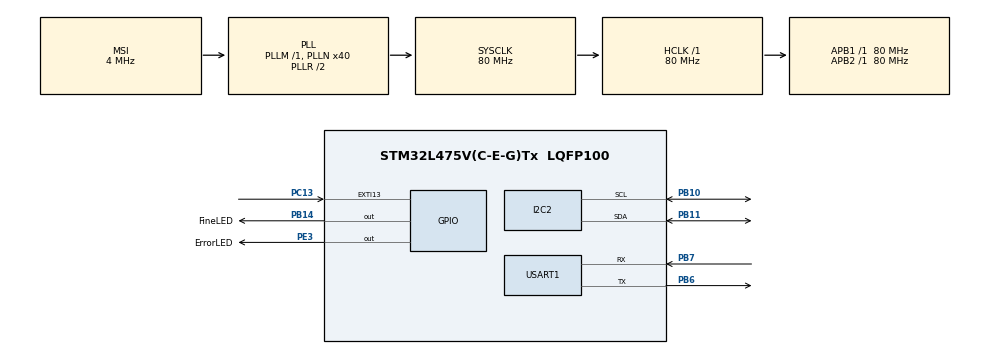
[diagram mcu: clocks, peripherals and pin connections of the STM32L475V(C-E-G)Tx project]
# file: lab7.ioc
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Mcu.Family=STM32L4
RCC.MSI_VALUE=4000000
VP_SYS_VS_tim6.Mode=TIM6
RCC.CortexFreq_Value=80000000
FREERTOS.Tasks01=defaultTask,0,128,StartDefaultTask,Default,NULL,Dynamic,NULL,NULL;buttonThread,-3,128,StartTask02,Default,NULL,Dynamic,NULL,NULL;UARTThread,-3,128,StartTask03,Default,NULL,Dynamic,NULL,NULL;sensorThread,-3,128,StartTask04,Default,NULL,Dynamic,NULL,NULL
PB10.Mode=I2C
NVIC.TIM6_DAC_IRQn=true\:0\:0\:false\:false\:true\:false\:false\:true
PC13.Signal=GPXTI13
PB14.GPIO_Label=FineLED
I2C2.Timing=0x10909CEC
PB11.Signal=I2C2_SDA
RCC.SYSCLKSource=RCC_SYSCLKSOURCE_PLLCLK
ProjectManager.StackSize=0x400
USART1.VirtualMode-Asynchronous=VM_ASYNC
PB11.Mode=I2C
ProjectManager.TargetToolchain=STM32CubeIDE
RCC.HCLKFreq_Value=80000000
RCC.APB2TimFreq_Value=80000000
PB6.Signal=USART1_TX
PB6.Mode=Asynchronous
RCC.USBFreq_Value=48000000
RCC.LSE_VALUE=32768
RCC.AHBFreq_Value=80000000
PB10.Signal=I2C2_SCL
NVIC.EXTI15_10_IRQn=true\:0\:0\:false\:false\:true\:false\:true\:true
PB14.Signal=GPIO_Output
RCC.HSE_VALUE=8000000
board=B-L475E-IOT01A1
RCC.VCOOutputFreq_Value=160000000
RCC.APB2Freq_Value=80000000
RCC.ADCFreq_Value=48000000
PB7.Signal=USART1_RX
VP_FREERTOS_VS_CMSIS_V1.Mode=CMSIS_V1
Mcu.Name=STM32L475V(C-E-G)Tx
RCC.SYSCLKFreq_VALUE=80000000
Mcu.Package=LQFP100
NVIC.TimeBase=TIM6_DAC_IRQn
PC13.GPIO_ModeDefaultEXTI=GPIO_MODE_IT_FALLING
PB7.Mode=Asynchronous
NVIC.TimeBaseIP=TIM6
ProjectManager.HeapSize=0x200
RCC.HSI_VALUE=16000000
NVIC.PriorityGroup=NVIC_PRIORITYGROUP_4
RCC.PLLN=40
RCC.APB1TimFreq_Value=80000000
PE3.Signal=GPIO_Output
PE3.GPIO_Label=ErrorLED
RCC.APB1Freq_Value=80000000
RCC.PLLSAI1N=24

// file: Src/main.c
/* USER CODE BEGIN Header */
/**
  ******************************************************************************
  * @file           : main.c
  * @brief          : Main program body
  ******************************************************************************
  * @attention
  *
  * <h2><center>&copy; Copyright (c) 2020 STMicroelectronics.
  * All rights reserved.</center></h2>
  *
  * This software component is licensed by ST under BSD 3-Clause license,
  * the "License"; You may not use this file except in compliance with the
  * License. You may obtain a copy of the License at:
  *                        opensource.org/licenses/BSD-3-Clause
  *
  ******************************************************************************
  */
/* USER CODE END Header */
#include "main.h"
#include "cmsis_os.h"

/* USER CODE BEGIN Includes */
#include "string.h"
#include "stdio.h"
#include "stm32l475e_iot01.h"
#include "stm32l475e_iot01_accelero.h"
#include "stm32l475e_iot01_magneto.h"
#include "stm32l475e_iot01_psensor.h"
#include "stm32l475e_iot01_tsensor.h"
/* USER CODE END Includes */

I2C_HandleTypeDef hi2c2;

UART_HandleTypeDef huart1;

osThreadId defaultTaskHandle;
osThreadId buttonThreadHandle;
osThreadId UARTThreadHandle;
osThreadId sensorThreadHandle;
/* USER CODE BEGIN PV */

int16_t accelero_XYZ[3];
int16_t magneto_XYZ[3];
float pressure;
float temperature;
char accelero_XYZ_buffer[50];
char magneto_XYZ_buffer[50];
char pressure_buffer[50];
char temperature_buffer[50];

enum sensor{MAGNETOMETER, PRESSURE, TEMPERATURE, ACCELOROMETER} sensorType;
/* USER CODE END PV */

void SystemClock_Config(void);
static void MX_GPIO_Init(void);
static void MX_I2C2_Init(void);
static void MX_USART1_UART_Init(void);
void StartDefaultTask(void const * argument);
void StartTask02(void const * argument);
void StartTask03(void const * argument);
void StartTask04(void const * argument);

int main(void)
{

  /* MCU Configuration--------------------------------------------------------*/

  /* Reset of all peripherals, Initializes the Flash interface and the Systick. */
  HAL_Init();

  /* Configure the system clock */
  SystemClock_Config();

  /* Initialize all configured peripherals */
  MX_GPIO_Init();
  MX_I2C2_Init();
  MX_USART1_UART_Init();
  /* USER CODE BEGIN 2 */

  /* Initialize I2C sensors */
  BSP_ACCELERO_Init();
  BSP_MAGNETO_Init();
  BSP_PSENSOR_Init();
  BSP_TSENSOR_Init();

  /* Set low power mode for accelerometer and magnetometer */
  BSP_ACCELERO_LowPower(1);
  BSP_MAGNETO_LowPower(1);

  /* USER CODE END 2 */

  /* Create the thread(s) */
  /* definition and creation of defaultTask */
  osThreadDef(defaultTask, StartDefaultTask, osPriorityNormal, 0, 128);
  defaultTaskHandle = osThreadCreate(osThread(defaultTask), NULL);

  /* definition and creation of buttonThread */
  osThreadDef(buttonThread, StartTask02, osPriorityIdle, 0, 128);
  buttonThreadHandle = osThreadCreate(osThread(buttonThread), NULL);

  /* definition and creation of UARTThread */
  osThreadDef(UARTThread, StartTask03, osPriorityIdle, 0, 128);
  UARTThreadHandle = osThreadCreate(osThread(UARTThread), NULL);

  /* definition and creation of sensorThread */
  osThreadDef(sensorThread, StartTask04, osPriorityIdle, 0, 128);
  sensorThreadHandle = osThreadCreate(osThread(sensorThread), NULL);

  /* Start scheduler */
  osKernelStart();

  /* We should never get here as control is now taken by the scheduler */
  /* Infinite loop */
  while (1)
  {

    /* USER CODE BEGIN 3 */

	  //Reading data

//	  BSP_ACCELERO_AccGetXYZ(accelero_XYZ);
//	  BSP_MAGNETO_GetXYZ(magneto_XYZ);
//	  pressure = BSP_PSENSOR_ReadPressure();
//	  temperature = BSP_TSENSOR_ReadTemp();
//	 //10 Hz
//	  HAL_Delay(100);
  }
  /* USER CODE END 3 */
}

void SystemClock_Config(void)
{
  RCC_OscInitTypeDef RCC_OscInitStruct = {0};
  RCC_ClkInitTypeDef RCC_ClkInitStruct = {0};
  RCC_PeriphCLKInitTypeDef PeriphClkInit = {0};

  /** Initializes the RCC Oscillators according to the specified parameters
  * in the RCC_OscInitTypeDef structure.
  */
  RCC_OscInitStruct.OscillatorType = RCC_OSCILLATORTYPE_MSI;
  RCC_OscInitStruct.MSIState = RCC_MSI_ON;
  RCC_OscInitStruct.MSICalibrationValue = 0;
  RCC_OscInitStruct.MSIClockRange = RCC_MSIRANGE_6;
  RCC_OscInitStruct.PLL.PLLState = RCC_PLL_ON;
  RCC_OscInitStruct.PLL.PLLSource = RCC_PLLSOURCE_MSI;
  RCC_OscInitStruct.PLL.PLLM = 1;
  RCC_OscInitStruct.PLL.PLLN = 40;
  RCC_OscInitStruct.PLL.PLLP = RCC_PLLP_DIV7;
  RCC_OscInitStruct.PLL.PLLQ = RCC_PLLQ_DIV2;
  RCC_OscInitStruct.PLL.PLLR = RCC_PLLR_DIV2;
  if (HAL_RCC_OscConfig(&RCC_OscInitStruct) != HAL_OK)
  {
    Error_Handler();
  }
  /** Initializes the CPU, AHB and APB buses clocks
  */
  RCC_ClkInitStruct.ClockType = RCC_CLOCKTYPE_HCLK|RCC_CLOCKTYPE_SYSCLK
                              |RCC_CLOCKTYPE_PCLK1|RCC_CLOCKTYPE_PCLK2;
  RCC_ClkInitStruct.SYSCLKSource = RCC_SYSCLKSOURCE_PLLCLK;
  RCC_ClkInitStruct.AHBCLKDivider = RCC_SYSCLK_DIV1;
  RCC_ClkInitStruct.APB1CLKDivider = RCC_HCLK_DIV1;
  RCC_ClkInitStruct.APB2CLKDivider = RCC_HCLK_DIV1;

  if (HAL_RCC_ClockConfig(&RCC_ClkInitStruct, FLASH_LATENCY_4) != HAL_OK)
  {
    Error_Handler();
  }
  PeriphClkInit.PeriphClockSelection = RCC_PERIPHCLK_USART1|RCC_PERIPHCLK_I2C2;
  PeriphClkInit.Usart1ClockSelection = RCC_USART1CLKSOURCE_PCLK2;
  PeriphClkInit.I2c2ClockSelection = RCC_I2C2CLKSOURCE_PCLK1;
  if (HAL_RCCEx_PeriphCLKConfig(&PeriphClkInit) != HAL_OK)
  {
    Error_Handler();
  }
  /** Configure the main internal regulator output voltage
  */
  if (HAL_PWREx_ControlVoltageScaling(PWR_REGULATOR_VOLTAGE_SCALE1) != HAL_OK)
  {
    Error_Handler();
  }
}

static void MX_I2C2_Init(void)
{

  hi2c2.Instance = I2C2;
  hi2c2.Init.Timing = 0x10909CEC;
  hi2c2.Init.OwnAddress1 = 0;
  hi2c2.Init.AddressingMode = I2C_ADDRESSINGMODE_7BIT;
  hi2c2.Init.DualAddressMode = I2C_DUALADDRESS_DISABLE;
  hi2c2.Init.OwnAddress2 = 0;
  hi2c2.Init.OwnAddress2Masks = I2C_OA2_NOMASK;
  hi2c2.Init.GeneralCallMode = I2C_GENERALCALL_DISABLE;
  hi2c2.Init.NoStretchMode = I2C_NOSTRETCH_DISABLE;
  if (HAL_I2C_Init(&hi2c2) != HAL_OK)
  {
    Error_Handler();
  }
  /** Configure Analogue filter
  */
  if (HAL_I2CEx_ConfigAnalogFilter(&hi2c2, I2C_ANALOGFILTER_ENABLE) != HAL_OK)
  {
    Error_Handler();
  }
  /** Configure Digital filter
  */
  if (HAL_I2CEx_ConfigDigitalFilter(&hi2c2, 0) != HAL_OK)
  {
    Error_Handler();
  }

}

static void MX_USART1_UART_Init(void)
{

  huart1.Instance = USART1;
  huart1.Init.BaudRate = 115200;
  huart1.Init.WordLength = UART_WORDLENGTH_8B;
  huart1.Init.StopBits = UART_STOPBITS_1;
  huart1.Init.Parity = UART_PARITY_NONE;
  huart1.Init.Mode = UART_MODE_TX_RX;
  huart1.Init.HwFlowCtl = UART_HWCONTROL_NONE;
  huart1.Init.OverSampling = UART_OVERSAMPLING_16;
  huart1.Init.OneBitSampling = UART_ONE_BIT_SAMPLE_DISABLE;
  huart1.AdvancedInit.AdvFeatureInit = UART_ADVFEATURE_NO_INIT;
  if (HAL_UART_Init(&huart1) != HAL_OK)
  {
    Error_Handler();
  }

}

static void MX_GPIO_Init(void)
{
  GPIO_InitTypeDef GPIO_InitStruct = {0};

  /* GPIO Ports Clock Enable */
  __HAL_RCC_GPIOE_CLK_ENABLE();
  __HAL_RCC_GPIOC_CLK_ENABLE();
  __HAL_RCC_GPIOB_CLK_ENABLE();

  /*Configure GPIO pin Output Level */
  HAL_GPIO_WritePin(ErrorLED_GPIO_Port, ErrorLED_Pin, GPIO_PIN_RESET);

  /*Configure GPIO pin Output Level */
  HAL_GPIO_WritePin(FineLED_GPIO_Port, FineLED_Pin, GPIO_PIN_RESET);

  /*Configure GPIO pin : ErrorLED_Pin */
  GPIO_InitStruct.Pin = ErrorLED_Pin;
  GPIO_InitStruct.Mode = GPIO_MODE_OUTPUT_PP;
  GPIO_InitStruct.Pull = GPIO_NOPULL;
  GPIO_InitStruct.Speed = GPIO_SPEED_FREQ_LOW;
  HAL_GPIO_Init(ErrorLED_GPIO_Port, &GPIO_InitStruct);

  /*Configure GPIO pin : PC13 */
  GPIO_InitStruct.Pin = GPIO_PIN_13;
  GPIO_InitStruct.Mode = GPIO_MODE_IT_FALLING;
  GPIO_InitStruct.Pull = GPIO_NOPULL;
  HAL_GPIO_Init(GPIOC, &GPIO_InitStruct);

  /*Configure GPIO pin : FineLED_Pin */
  GPIO_InitStruct.Pin = FineLED_Pin;
  GPIO_InitStruct.Mode = GPIO_MODE_OUTPUT_PP;
  GPIO_InitStruct.Pull = GPIO_NOPULL;
  GPIO_InitStruct.Speed = GPIO_SPEED_FREQ_LOW;
  HAL_GPIO_Init(FineLED_GPIO_Port, &GPIO_InitStruct);

  /* EXTI interrupt init*/
  HAL_NVIC_SetPriority(EXTI15_10_IRQn, 0, 0);
  HAL_NVIC_EnableIRQ(EXTI15_10_IRQn);

}

/* USER CODE BEGIN 4 */
//UART Transmit
//void HAL_GPIO_EXTI_Callback(uint16_t GPIO_Pin){
//	if(sensorType == ACCELOROMETER){
//	  sprintf(accelero_XYZ_buffer, "Accelerometer: X:%d Y:%d Z:%d", accelero_XYZ[0],accelero_XYZ[1],accelero_XYZ[2]);
//	  HAL_UART_Transmit(&huart1,accelero_XYZ_buffer,50,30000);
//	  sensorType = MAGNETOMETER;
//	}else if(sensorType == MAGNETOMETER){
//	  sprintf(magneto_XYZ_buffer, "Magnetometer: X:%d Y:%d Z:%d ",magneto_XYZ[0],magneto_XYZ[1],magneto_XYZ[2]);
//	  HAL_UART_Transmit(&huart1,magneto_XYZ_buffer,50,30000);
//	  sensorType = TEMPERATURE;
//	}else if(sensorType == TEMPERATURE){
//	  sprintf(temperature_buffer, "Temperature Sensor: %d",(int) temperature);
//	  HAL_UART_Transmit(&huart1,temperature_buffer,50,30000);
//	  sensorType = PRESSURE;
//	}else{
//	 HAL_UART_Transmit(&huart1,pressure_buffer,50,30000);
//	 sprintf(pressure_buffer, "Pressure Sensor: %d",(int) pressure);
//	 sensorType =ACCELOROMETER;
//	}
//}
/* USER CODE END 4 */

void StartDefaultTask(void const * argument)
{
  for(;;)
  {
    osDelay(1);
  }
}

void StartTask02(void const * argument)
{
  /* USER CODE BEGIN StartTask02 */
  /* Infinite loop */
  for(;;)
  {
    osDelay(150);
    if (HAL_GPIO_ReadPin(GPIOC, GPIO_PIN_13) != GPIO_PIN_SET) {
    	if(sensorType == ACCELOROMETER){
    	  sensorType = MAGNETOMETER;
    	}else if(sensorType == MAGNETOMETER){
    	  sensorType = TEMPERATURE;
    	}else if(sensorType == TEMPERATURE){
    	  sensorType = PRESSURE;
    	}else{
    	 sensorType =ACCELOROMETER;
    	}
    }
  }
  /* USER CODE END StartTask02 */
}

void StartTask03(void const * argument)
{
  /* USER CODE BEGIN StartTask03 */
  /* Infinite loop */
  for(;;)
  {
    osDelay(100);
	if(sensorType == ACCELOROMETER){
	  sprintf(accelero_XYZ_buffer, "Accelerometer: X:%d Y:%d Z:%d", accelero_XYZ[0],accelero_XYZ[1],accelero_XYZ[2]);
	  HAL_UART_Transmit(&huart1,accelero_XYZ_buffer,50,30000);
	 }else if(sensorType == MAGNETOMETER){
	  sprintf(magneto_XYZ_buffer, "Magnetometer: X:%d Y:%d Z:%d ",magneto_XYZ[0],magneto_XYZ[1],magneto_XYZ[2]);
	  HAL_UART_Transmit(&huart1,magneto_XYZ_buffer,50,30000);
	 }else if(sensorType == TEMPERATURE){
	  sprintf(temperature_buffer, "Temperature Sensor: %d",(int) temperature);
	  HAL_UART_Transmit(&huart1,temperature_buffer,50,30000);
	 }else{
	 sprintf(pressure_buffer, "Pressure Sensor: %d",(int) pressure);
	 HAL_UART_Transmit(&huart1,pressure_buffer,50,30000);
	 }
  }
  /* USER CODE END StartTask03 */
}

void StartTask04(void const * argument)
{
  /* USER CODE BEGIN StartTask04 */
  /* Infinite loop */
  for(;;)
  {
    osDelay(100);
    if(sensorType == ACCELOROMETER){
    	BSP_ACCELERO_AccGetXYZ(accelero_XYZ);
	}else if(sensorType == MAGNETOMETER){
		BSP_MAGNETO_GetXYZ(magneto_XYZ);
	}else if(sensorType == TEMPERATURE){
		 pressure = BSP_PSENSOR_ReadPressure();
	}else{
		temperature = BSP_TSENSOR_ReadTemp();
	}
  }
  /* USER CODE END StartTask04 */
}

void HAL_TIM_PeriodElapsedCallback(TIM_HandleTypeDef *htim)
{
  if (htim->Instance == TIM6) {
    HAL_IncTick();
  }
}

void Error_Handler(void)
{
}

/************************ (C) COPYRIGHT STMicroelectronics *****END OF FILE****/
